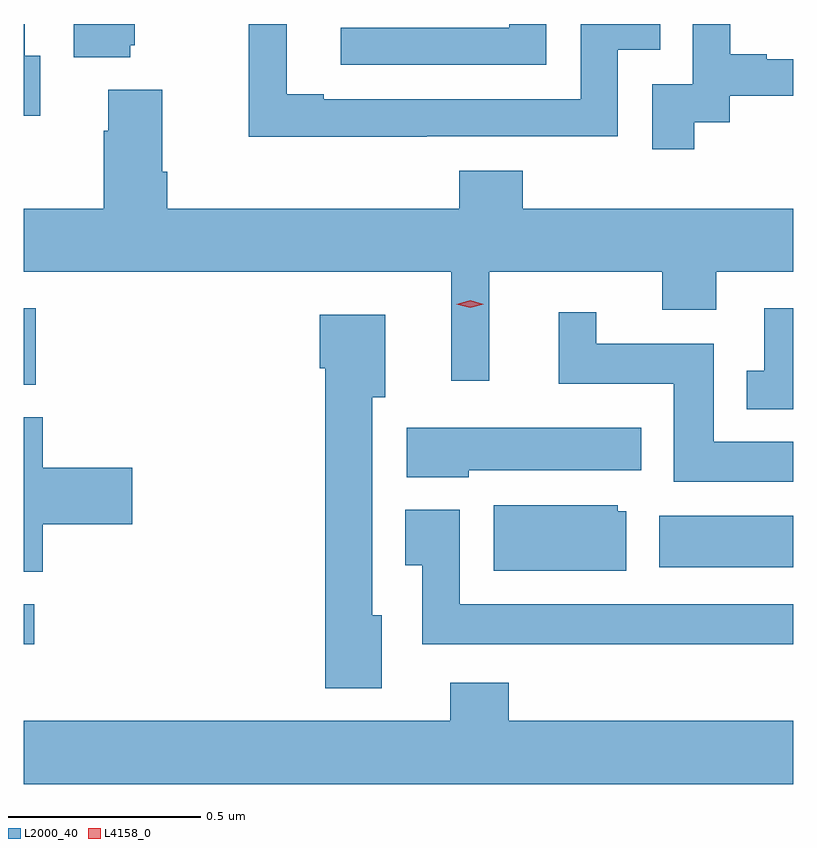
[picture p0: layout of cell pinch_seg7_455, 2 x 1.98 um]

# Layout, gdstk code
import gdstk
lib = gdstk.Library(unit=1e-6, precision=1e-09)
def R(c, l, rs):  # rectangles x0, y0, x1, y1
    for r in rs: c.add(gdstk.rectangle(r[:2], r[2:], *l))
def P(c, l, *ps):  # polygons
    for p in ps: c.add(gdstk.Polygon(p, *l))
L2000_40 = (2000, 40)
L4158_0 = (4158, 0)

pinch_seg7_455 = lib.new_cell('pinch_seg7_455')
R(pinch_seg7_455, L2000_40, [(244.483,1051.595,244.51,1051.699), (246.135,1051.796,246.483,1051.93), (244.483,1052.27,244.514,1052.469)])
P(pinch_seg7_455, L2000_40, [(244.525,1053.126),(244.485,1053.126),(244.485,1053.208),(244.483,1053.208),(244.483,1052.97),(244.525,1052.97)],
  [(246.226,1052.953),(246.318,1052.953),(246.318,1053.021),(246.483,1053.021),(246.483,1053.117),(246.415,1053.117),(246.415,1053.13),(246.32,1053.13),(246.32,1053.208),(246.222,1053.208),(246.222,1053.051),(246.117,1053.051),(246.117,1052.883),(246.226,1052.883)],
  [(245.841,1053.208),(245.745,1053.208),(245.745,1053.198),(245.307,1053.198),(245.307,1053.102),(245.841,1053.102)],
  [(245.531,1052.916),(246.027,1052.916),(246.027,1053.141),(246.137,1053.141),(246.137,1053.208),(245.931,1053.208),(245.931,1053.012),(245.263,1053.012),(245.263,1053.025),(245.166,1053.025),(245.166,1053.208),(245.068,1053.208),(245.068,1052.915),(245.531,1052.915)],
  [(244.76,1053.153),(244.771,1053.153),(244.771,1053.208),(244.613,1053.208),(244.613,1053.122),(244.76,1053.122)],
  [(245.693,1052.564),(246.143,1052.564),(246.143,1052.465),(246.283,1052.465),(246.283,1052.564),(246.483,1052.564),(246.483,1052.728),(245.78,1052.728),(245.78,1052.827),(245.615,1052.827),(245.615,1052.728),(244.856,1052.728),(244.856,1052.824),(244.843,1052.824),(244.843,1053.037),(244.703,1053.037),(244.703,1052.93),(244.691,1052.93),(244.691,1052.728),(244.483,1052.728),(244.483,1052.564),(245.594,1052.564),(245.594,1052.28),(245.693,1052.28)],
  [(246.483,1052.469),(246.408,1052.469),(246.408,1052.307),(246.362,1052.307),(246.362,1052.207),(246.483,1052.207)],
  [(246.483,1052.122),(246.277,1052.122),(246.277,1052.377),(245.971,1052.377),(245.971,1052.458),(245.873,1052.458),(245.873,1052.273),(246.173,1052.273),(246.173,1052.018),(246.483,1052.018)],
  [(245.413,1051.671),(245.389,1051.671),(245.389,1052.238),(245.422,1052.238),(245.422,1052.452),(245.252,1052.452),(245.252,1052.313),(245.267,1052.313),(245.267,1051.481),(245.413,1051.481)],
  [(244.532,1051.907),(244.765,1051.907),(244.765,1052.054),(244.532,1052.054),(244.532,1052.185),(244.483,1052.185),(244.483,1051.784),(244.532,1051.784)],
  [(245.64,1052.048),(246.088,1052.048),(246.088,1052.158),(245.478,1052.158),(245.478,1052.03),(245.64,1052.03)],
  [(246.049,1051.941),(246.027,1051.941),(246.027,1051.957),(245.705,1051.957),(245.705,1051.787),(246.049,1051.787)],
  [(246.483,1051.699),(245.616,1051.699),(245.616,1051.945),(245.474,1051.945),(245.474,1051.801),(245.519,1051.801),(245.519,1051.595),(246.483,1051.595)],
  [(246.483,1051.396),(245.744,1051.396),(245.744,1051.495),(245.591,1051.495),(245.591,1051.396),(244.483,1051.396),(244.483,1051.232),(246.483,1051.232)])
P(pinch_seg7_455, L4158_0, [(245.643,1052.47),(245.607,1052.48),(245.607,1052.48),(245.607,1052.48),(245.643,1052.49),(245.679,1052.48),(245.679,1052.48),(245.679,1052.48)])

lib.write_gds('pinch_seg7_455.gds')
